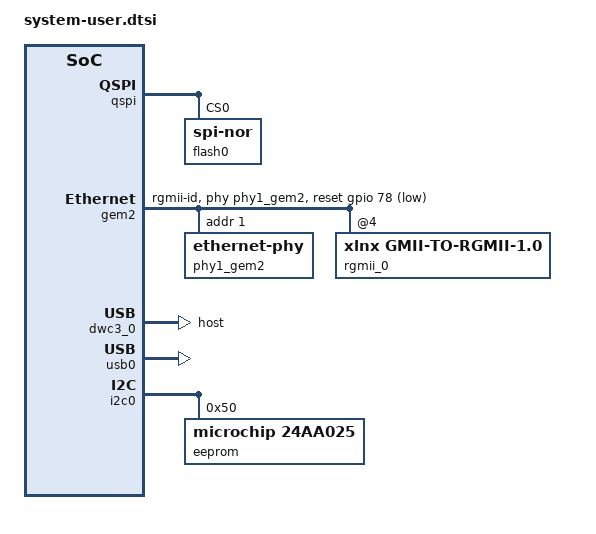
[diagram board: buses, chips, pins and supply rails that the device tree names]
/include/ "system-conf.dtsi"
#include <dt-bindings/gpio/gpio.h>
/ {
  chosen {
    xlnx,eeprom = &eeprom;
  };
};

/*------------------------- QSPI ------------------------- */
&qspi {
    #address-cells = <1>;
    #size-cells = <0>;
    status = "okay";
    flash0: flash@0 {
        //compatible = "flash name, "micron,m25p80";
        compatible = "jedec,spi-nor";
        reg = <0x0>;
        #address-cells = <1>;
        #size-cells = <1>;
    };
};


/*----------------------- SD1 sd2.0 -----------------------*/
&sdhci1 {
    disable-wp;
    no-1-8-v;
};

/*------------------------- ETH PHY -----------------------*/
/delete-node/ &psu_ethernet_2_mdio;
&gem2 { 
    phy-handle = <&phy1_gem2>;
    phy-mode = "rgmii-id";
    status = "okay";
    
    reset-names = "ETH_RST"; 
    reset-gpios = <&gpio 78 GPIO_ACTIVE_LOW>;
    
    phy1_gem2: ethernet-phy@1 {
        device_type = "ethernet-phy";
        reg = <1>;
    };

    rgmii_0: rgmii_0@4 {
        phy-handle = <&phy1_gem2>;
        compatible = "xlnx,gmii-to-rgmii-1.0";
        reg = <4>;
    };
};



/*----------------------- USB 2.0 only --------------------*/
&dwc3_0 {
    status = "okay";
    dr_mode = "host";
    maximum-speed = "high-speed";
    /delete-property/phy-names;
    /delete-property/phys;
    /delete-property/snps,usb3_lpm_capable;
    snps,dis_u2_susphy_quirk;
    snps,dis_u3_susphy_quirk;
};
    
&usb0 {
    status = "okay";
    /delete-property/ clocks;
    /delete-property/ clock-names;
    clocks = <0x3 0x20>;
    clock-names = "bus_clk";
};

/*---------------------------- I2C ------------------------*/
&i2c0 {
  eeprom: eeprom@50 {
     compatible = "microchip,24aa025", "atmel,24c02";
     reg = <0x50>;
  };
};


